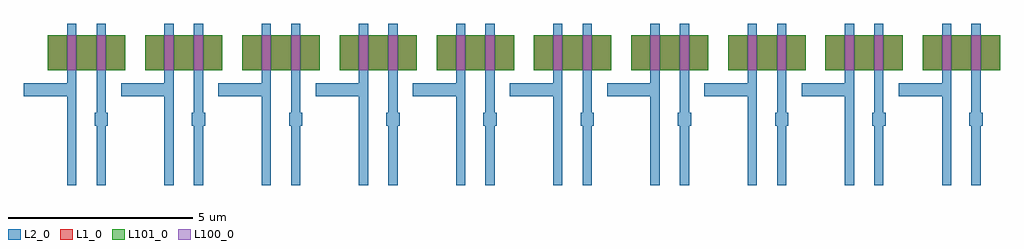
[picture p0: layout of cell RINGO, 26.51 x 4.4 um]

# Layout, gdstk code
import gdstk
lib = gdstk.Library(unit=1e-6, precision=1e-09)
def R(c, l, rs):  # rectangles x0, y0, x1, y1
    for r in rs: c.add(gdstk.rectangle(r[:2], r[2:], *l))
L1_0 = (1, 0)
L2_0 = (2, 0)
L100_0 = (100, 0)
L101_0 = (101, 0)

trans = lib.new_cell('TRANS')
trans.add(gdstk.FlexPath([(0,-0.8),(0,0.8)], 0.25, ends="flush", simple_path=True, layer=2, datatype=0))  # L2_0

inv2 = lib.new_cell('INV2')
R(inv2, L1_0, [(-1.05,2.325,1.05,3.275)])
R(inv2, L2_0, [(-0.525,-0.25,-0.275,2.25), (0.275,-0.25,0.525,2.25), (0.22,0.82,0.58,1.18), (-1.7,1.62,-0.4,1.98)])
R(inv2, L100_0, [(-0.525,2.325,-0.275,3.275), (0.275,2.325,0.525,3.275)])
R(inv2, L101_0, [(-1.05,2.325,-0.525,3.275), (-0.275,2.325,0.275,3.275), (0.525,2.325,1.05,3.275)])
inv2.add(gdstk.Reference(trans, (-0.4,0)))
inv2.add(gdstk.Reference(trans, (-0.4,2.8)))
inv2.add(gdstk.Reference(trans, (0.4,0), x_reflection=True))
inv2.add(gdstk.Reference(trans, (0.4,2.8), x_reflection=True))

ringo = lib.new_cell('RINGO')
ringo.add(gdstk.Reference(inv2, (0,0)))
ringo.add(gdstk.Reference(inv2, (2.64,0)))
ringo.add(gdstk.Reference(inv2, (5.28,0)))
ringo.add(gdstk.Reference(inv2, (7.92,0)))
ringo.add(gdstk.Reference(inv2, (10.56,0)))
ringo.add(gdstk.Reference(inv2, (13.2,0)))
ringo.add(gdstk.Reference(inv2, (15.84,0)))
ringo.add(gdstk.Reference(inv2, (18.48,0)))
ringo.add(gdstk.Reference(inv2, (21.12,0)))
ringo.add(gdstk.Reference(inv2, (23.76,0)))
ringo.add(gdstk.Reference(inv2, (2.64,0)))
r = gdstk.Reference(inv2, (13.2,0)); r.repetition = gdstk.Repetition(2, 1, v1=(2.64,0), v2=(0,0)); ringo.add(r)

lib.write_gds('RINGO.gds')
